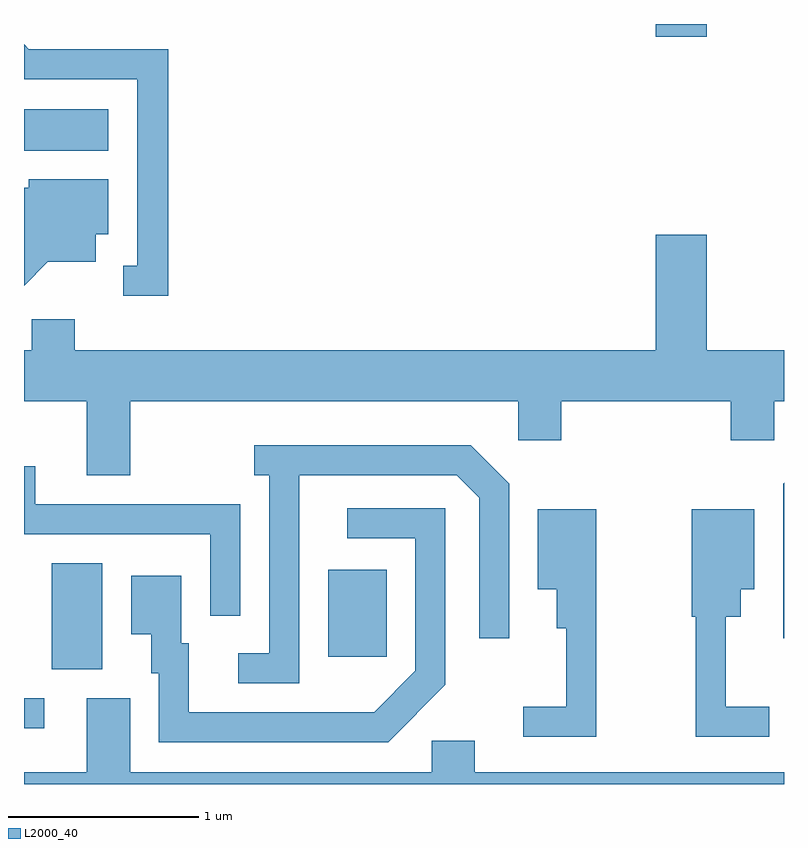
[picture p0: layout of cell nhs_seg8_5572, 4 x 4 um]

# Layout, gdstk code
import gdstk
lib = gdstk.Library(unit=1e-6, precision=1e-09)
def R(c, l, rs):  # rectangles x0, y0, x1, y1
    for r in rs: c.add(gdstk.rectangle(r[:2], r[2:], *l))
def P(c, l, *ps):  # polygons
    for p in ps: c.add(gdstk.Polygon(p, *l))
L2000_40 = (2000, 40)

nhs_seg8_5572 = lib.new_cell('nhs_seg8_5572')
R(nhs_seg8_5572, L2000_40, [(351.611,1894.636,351.718,1894.794), (351.756,1894.946,352.024,1895.504), (353.211,1895.011,353.519,1895.469), (351.611,1897.676,352.054,1897.894), (354.936,1898.276,355.204,1898.342)])
P(nhs_seg8_5572, L2000_40, [(352.369,1898.209),(351.637,1898.209),(351.611,1898.235),(351.611,1898.051),(352.206,1898.051),(352.206,1897.069),(352.133,1897.069),(352.133,1896.911),(352.369,1896.911)],
  [(351.737,1897.091),(351.989,1897.091),(351.989,1897.236),(352.054,1897.236),(352.054,1897.524),(351.636,1897.524),(351.636,1897.479),(351.611,1897.479),(351.611,1896.965)],
  [(351.879,1896.789),(351.651,1896.789),(351.651,1896.624),(351.611,1896.624),(351.611,1896.356),(351.941,1896.356),(351.941,1895.966),(352.169,1895.966),(352.169,1896.356),(354.211,1896.356),(354.211,1896.151),(354.439,1896.151),(354.439,1896.356),(355.331,1896.356),(355.331,1896.151),(355.559,1896.151),(355.559,1896.356),(355.611,1896.356),(355.611,1896.624),(355.204,1896.624),(355.204,1897.234),(354.936,1897.234),(354.936,1896.624),(351.879,1896.624)],
  [(353.059,1895.966),(353.889,1895.966),(354.006,1895.849),(354.006,1895.108),(354.164,1895.108),(354.164,1895.922),(353.962,1896.124),(352.823,1896.124),(352.823,1895.966),(352.901,1895.966),(352.901,1895.029),(352.738,1895.029),(352.738,1894.871),(353.059,1894.871)],
  [(352.749,1895.814),(351.669,1895.814),(351.669,1896.014),(351.611,1896.014),(351.611,1895.656),(352.591,1895.656),(352.591,1895.228),(352.749,1895.228)],
  [(355.611,1895.927),(355.606,1895.922),(355.606,1895.108),(355.611,1895.108)],
  [(353.829,1894.864),(353.829,1895.794),(353.313,1895.794),(353.313,1895.636),(353.671,1895.636),(353.671,1894.937),(353.454,1894.719),(352.479,1894.719),(352.479,1895.084),(352.439,1895.084),(352.439,1895.439),(352.176,1895.439),(352.176,1895.131),(352.281,1895.131),(352.281,1894.926),(352.321,1894.926),(352.321,1894.561),(353.527,1894.561)],
  [(355.533,1894.749),(355.304,1894.749),(355.304,1895.221),(355.384,1895.221),(355.384,1895.366),(355.454,1895.366),(355.454,1895.789),(355.126,1895.789),(355.126,1895.221),(355.146,1895.221),(355.146,1894.591),(355.533,1894.591)],
  [(354.624,1895.789),(354.316,1895.789),(354.316,1895.366),(354.416,1895.366),(354.416,1895.161),(354.466,1895.161),(354.466,1894.749),(354.238,1894.749),(354.238,1894.591),(354.624,1894.591)],
  [(355.611,1894.404),(353.984,1894.404),(353.984,1894.569),(353.756,1894.569),(353.756,1894.404),(352.169,1894.404),(352.169,1894.794),(351.941,1894.794),(351.941,1894.404),(351.611,1894.404),(351.611,1894.342),(355.611,1894.342)])

lib.write_gds('nhs_seg8_5572.gds')
